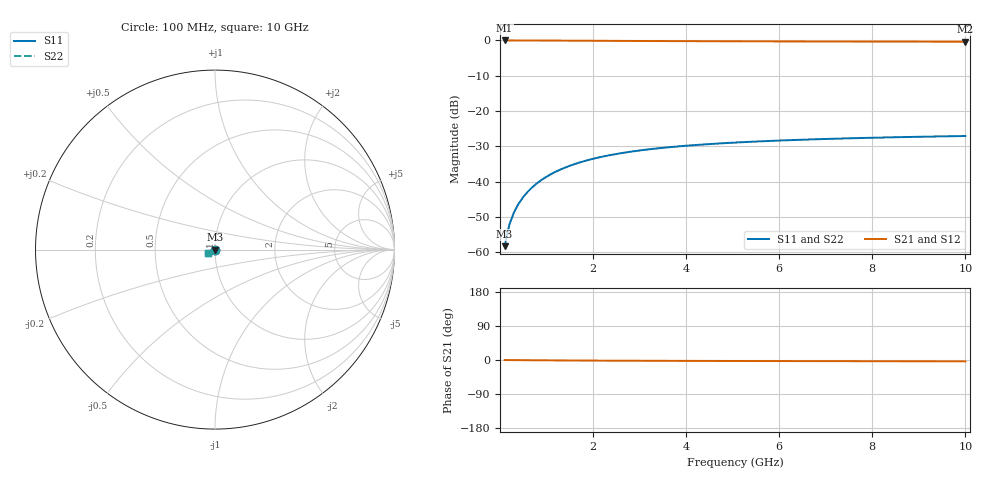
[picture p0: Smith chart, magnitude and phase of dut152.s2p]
! Touchstone file exported from HFSS 2024.1.0
!  File:  C:/UserFiles/LocalFiles/RDL_TSV_Batchsim/temp_TSV1_152_1779381494.aedt
!  Generated:  12:42:51 AM May 22, 2026
!  Design:  TSV1
!  Project:  temp_TSV1_152_1779381494
!  Setup:  Setup1
!  Solution:  Sweep
! Variables:
!  dtsv = 14.87um
!  hbump = 3um
!  htsv = 50.55um
!  lrdl = 252.1521522um
!  p = 40
!  p1 = 45.5um
!  t = 500um
!  trdl = 3um
!  wrdl = 24.89489489um
# GHz S MA R 50.000000
! Terminal data exported
! Port[1] = TSV22_T1
! Port[2] = TSV22_T2
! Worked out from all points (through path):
!   100 points, 100 MHz to 10 GHz, reference 50 ohm
!   highest |S21| = 0.00 dB at 100 MHz (marker M1); lowest = -0.4 dB at 10 GHz (marker M2)
!   lowest |S11| = -58.3 dB at 100 MHz (marker M3), VSWR 1.00, Z = 50 - j0.122 ohm
!   |S11| at or under -10 dB: start of sweep to end of sweep
!   |S22| runs from -58.3 to -27.1 dB; largest |S21 - S12| = 1.5e-15
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0.1  0.001219 -88.5  0.9999 -0.1  0.9999 -0.1  0.001219 -88.5
! Gamma 0 0 0 0
! Port Impedance 50 0 50 0
0.2  0.002438 -91.8  0.9998 -0.2  0.9998 -0.2  0.002438 -91.8
0.3  0.003655 -94.0  0.9996 -0.3  0.9996 -0.3  0.003655 -94.0
0.4  0.004863 -95.8  0.9994 -0.4  0.9994 -0.4  0.004863 -95.8
0.5  0.006059 -97.5  0.9991 -0.5  0.9991 -0.5  0.006059 -97.5
0.6  0.007239 -99.1  0.9987 -0.6  0.9987 -0.6  0.007239 -99.1
0.7  0.0084 -100.7  0.9983 -0.7  0.9983 -0.7  0.0084 -100.7
0.8  0.00954 -102.3  0.9978 -0.7  0.9978 -0.7  0.00954 -102.3
0.9  0.01066 -103.8  0.9973 -0.8  0.9973 -0.8  0.01066 -103.8
1.1  0.01281 -106.7  0.9961 -1.0  0.9961 -1.0  0.01281 -106.7
1.4  0.01583 -110.8  0.9941 -1.2  0.9941 -1.2  0.01583 -110.8
1.6  0.0177 -113.3  0.9927 -1.3  0.9927 -1.3  0.0177 -113.3
1.8  0.01944 -115.8  0.9913 -1.5  0.9913 -1.5  0.01944 -115.8
2.1  0.02184 -119.1  0.9891 -1.6  0.9891 -1.6  0.02184 -119.1
2.5  0.02466 -123.1  0.9863 -1.8  0.9863 -1.8  0.02466 -123.1
2.9  0.02709 -126.6  0.9837 -2.0  0.9837 -2.0  0.02709 -126.6
3.4  0.02967 -130.4  0.9807 -2.1  0.9807 -2.1  0.02967 -130.4
4.2  0.033 -135.3  0.9764 -2.4  0.9764 -2.4  0.033 -135.3
5.1  0.03591 -139.7  0.9725 -2.6  0.9725 -2.6  0.03591 -139.7
6.7  0.03966 -145.4  0.9672 -2.9  0.9672 -2.9  0.03966 -145.4
8.4  0.04243 -149.7  0.9631 -3.3  0.9631 -3.3  0.04243 -149.7
10  0.0443 -152.9  0.9604 -3.6  0.9604 -3.6  0.0443 -152.9
